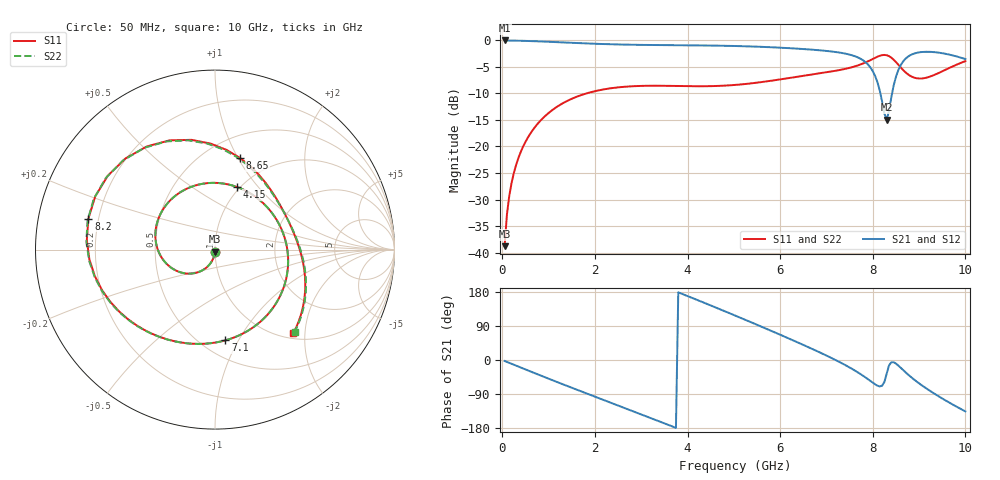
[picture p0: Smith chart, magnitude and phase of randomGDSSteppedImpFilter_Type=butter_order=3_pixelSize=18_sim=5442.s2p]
! freq	dB(S11)	phase(S11)	dB(S12)	phase(S12)
!  dB(S21)	phase(S21)	dB(S22)	phase(S22)
!S-par simulation data
#  GHz  S  DB  R 50
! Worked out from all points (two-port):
!   200 points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, 50 MHz to 10 GHz, reference 50 ohm
!   highest |S21| = -0.01 dB at 50 MHz (marker M1); lowest = -14.9 dB at 8.3 GHz (marker M2)
!   |S21| within 3 dB of the highest: start of sweep to 7.621 GHz; 8.77 GHz to 9.804 GHz (1.033 GHz wide, 11.1 % of centre)
!   lowest |S11| = -38.8 dB at 50 MHz (marker M3), VSWR 1.02, Z = 49.9 - j1.15 ohm
!   |S11| at or under -10 dB: start of sweep to 1.815 GHz
!   |S22| runs from -38.8 to -2.7 dB; largest |S21 - S12| = 0
!   S11 on the Smith chart (normalised r, x): 50 MHz: 1.00, -0.02; 4.15 GHz: 0.96, +0.78; 7.1 GHz: 0.65, -0.88; 8.2 GHz: 0.16, +0.12; 8.65 GHz: 0.72, +1.02; 10 GHz: 1.11, -1.74
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0.05  -38.80 -91.9  -0.01 -2.5  -0.01 -2.5  -38.80 -91.9
0.2  -26.89 -100.1  -0.03 -10.0  -0.03 -10.0  -26.89 -100.1
0.5  -19.14 -115.4  -0.09 -24.9  -0.09 -24.9  -19.14 -115.4
1.15  -12.69 -147.2  -0.31 -56.5  -0.31 -56.5  -12.69 -147.2
1.75  -10.18 -175.7  -0.54 -85.0  -0.54 -85.0  -10.18 -175.7
2.5  -8.85 149.4  -0.76 -119.9  -0.76 -119.9  -8.85 149.4
3.4  -8.55 107.1  -0.88 -162.2  -0.88 -162.2  -8.55 107.1
4.15  -8.64 70.9  -0.93 161.4  -0.93 161.4  -8.64 70.8
5.05  -8.38 26.2  -1.06 116.2  -1.06 116.2  -8.38 26.0
5.85  -7.55 -14.7  -1.30 74.7  -1.30 74.7  -7.55 -15.0
6.7  -6.41 -60.2  -1.75 28.8  -1.75 28.8  -6.41 -60.4
7.1  -5.87 -83.5  -2.07 5.8  -2.07 5.8  -5.87 -83.6
7.8  -4.32 -136.4  -3.81 -42.4  -3.81 -42.4  -4.30 -136.1
8  -3.50 -160.3  -5.79 -59.9  -5.79 -59.9  -3.48 -159.7
8.2  -2.78 166.2  -11.46 -68.1  -11.46 -68.1  -2.75 167.2
8.3  -2.79 145.4  -14.93 -35.8  -14.93 -35.8  -2.76 146.7
8.35  -2.96 134.4  -13.34 -14.5  -13.34 -14.5  -2.93 135.8
8.5  -4.07 102.2  -6.87 -9.3  -6.87 -9.3  -4.05 103.9
8.65  -5.53 74.7  -4.02 -26.0  -4.02 -26.0  -5.52 76.7
8.95  -7.14 34.6  -2.34 -57.1  -2.34 -57.1  -7.15 36.7
9.25  -6.78 6.2  -2.16 -82.6  -2.16 -82.6  -6.79 8.1
10  -3.90 -46.8  -3.51 -135.7  -3.51 -135.7  -3.91 -45.8
